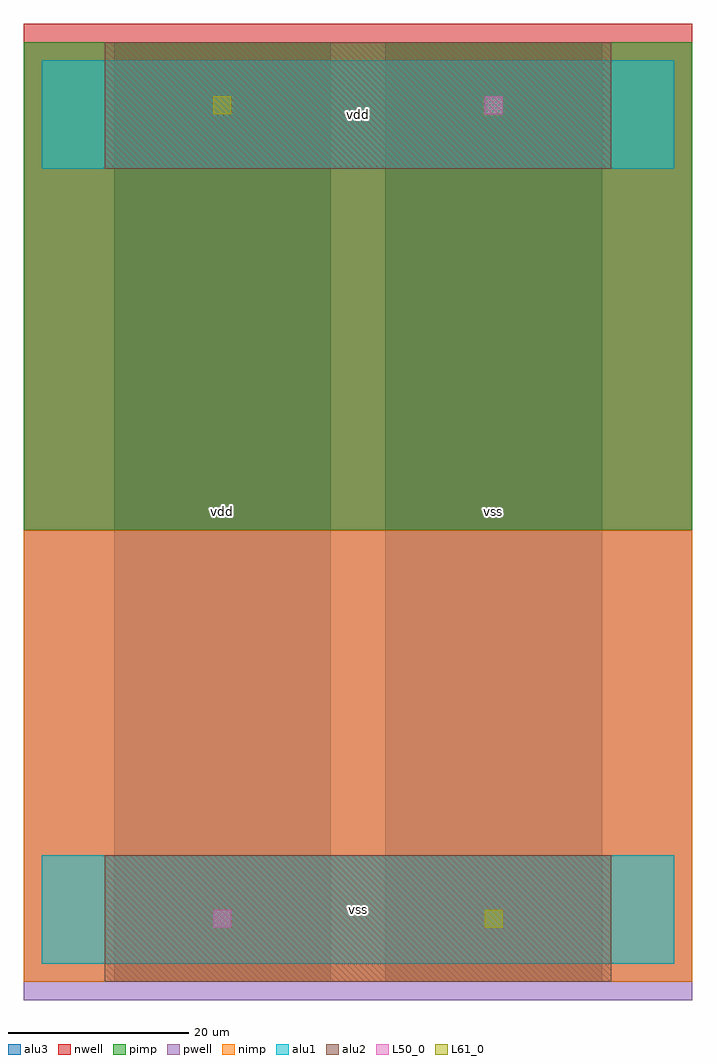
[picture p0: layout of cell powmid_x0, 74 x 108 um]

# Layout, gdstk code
import gdstk
lib = gdstk.Library(unit=1e-6, precision=1e-09)
def R(c, l, rs):  # rectangles x0, y0, x1, y1
    for r in rs: c.add(gdstk.rectangle(r[:2], r[2:], *l))
pwell = (41, 0)
nwell = (42, 0)
pimp = (44, 0)
nimp = (45, 0)
alu1 = (49, 0)
L50_0 = (50, 0)
alu2 = (51, 0)
L61_0 = (61, 0)
alu3 = (62, 0)

powmid_x0 = lib.new_cell('powmid_x0')
R(powmid_x0, pwell, [(-2,-4,72,48)])
R(powmid_x0, nwell, [(-2,48,72,104)])
R(powmid_x0, pimp, [(-2,48,72,102)])
R(powmid_x0, nimp, [(-2,-2,72,48)])
R(powmid_x0, alu1, [(0,0,70,12), (0,88,70,100)])
R(powmid_x0, L50_0, [(19,4,21,6), (49,94,51,96)])
R(powmid_x0, alu2, [(7,-2,63,12), (7,88,63,102)])
R(powmid_x0, L61_0, [(49,4,51,6), (19,94,21,96)])
R(powmid_x0, alu3, [(8,-2,32,102), (38,-2,62,102)])
powmid_x0.add(gdstk.Label('vss', (35,6), layer=49, texttype=0))
powmid_x0.add(gdstk.Label('vdd', (35,94), layer=49, texttype=0))
powmid_x0.add(gdstk.Label('vss', (35,6), layer=51, texttype=0))
powmid_x0.add(gdstk.Label('vdd', (35,94), layer=51, texttype=0))
powmid_x0.add(gdstk.Label('vdd', (20,50), layer=62, texttype=0))
powmid_x0.add(gdstk.Label('vss', (50,50), layer=62, texttype=0))

lib.write_gds('powmid_x0.gds')
